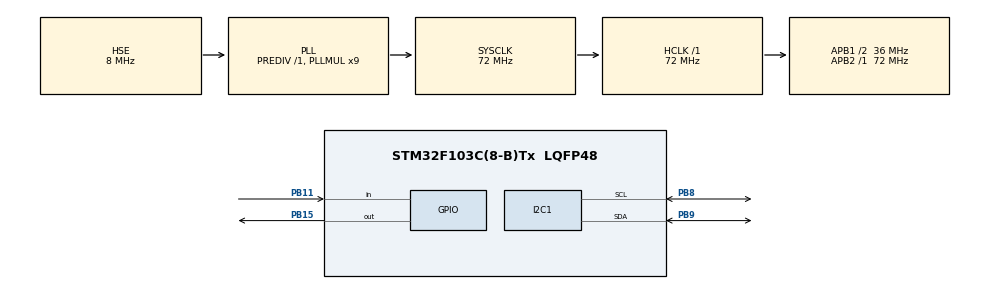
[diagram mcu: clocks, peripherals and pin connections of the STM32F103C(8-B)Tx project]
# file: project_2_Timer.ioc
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I2C1.I2C_Mode=I2C_Fast
Mcu.Family=STM32F1
Mcu.Name=STM32F103C(8-B)Tx
Mcu.Package=LQFP48
NVIC.PriorityGroup=NVIC_PRIORITYGROUP_4
PA13.Mode=Serial_Wire
PA13.Signal=SYS_JTMS-SWDIO
PA14.Mode=Serial_Wire
PA14.Signal=SYS_JTCK-SWCLK
PB11.GPIO_PuPd=GPIO_PULLUP
PB11.Signal=GPIO_Input
PB15.PinState=GPIO_PIN_SET
PB15.Signal=GPIO_Output
PB8.Mode=I2C
PB8.Signal=I2C1_SCL
PB9.Mode=I2C
PB9.Signal=I2C1_SDA
PC14-OSC32_IN.Mode=LSE-External-Oscillator
PC14-OSC32_IN.Signal=RCC_OSC32_IN
PC15-OSC32_OUT.Mode=LSE-External-Oscillator
PC15-OSC32_OUT.Signal=RCC_OSC32_OUT
PD0-OSC_IN.Mode=HSE-External-Oscillator
PD0-OSC_IN.Signal=RCC_OSC_IN
PD1-OSC_OUT.Mode=HSE-External-Oscillator
PD1-OSC_OUT.Signal=RCC_OSC_OUT
ProjectManager.HeapSize=0x200
ProjectManager.StackSize=0x400
ProjectManager.TargetToolchain=MDK-ARM V5.32
RCC.AHBFreq_Value=72000000
RCC.APB1CLKDivider=RCC_HCLK_DIV2
RCC.APB1Freq_Value=36000000
RCC.APB1TimFreq_Value=72000000
RCC.APB2Freq_Value=72000000
RCC.APB2TimFreq_Value=72000000
RCC.HCLKFreq_Value=72000000
RCC.PLLMUL=RCC_PLL_MUL9
RCC.PLLSourceVirtual=RCC_PLLSOURCE_HSE
RCC.SYSCLKFreq_VALUE=72000000
RCC.SYSCLKSource=RCC_SYSCLKSOURCE_PLLCLK
RCC.USBFreq_Value=72000000
board=custom

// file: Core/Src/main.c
/* USER CODE BEGIN Header */
/**
  ******************************************************************************
  * @file           : main.c
  * @brief          : Main program body
  ******************************************************************************
  * @attention
  *
  * Copyright (c) 2026 STMicroelectronics.
  * All rights reserved.
  *
  * This software is licensed under terms that can be found in the LICENSE file
  * in the root directory of this software component.
  * If no LICENSE file comes with this software, it is provided AS-IS.
  *
  ******************************************************************************
  */
/* USER CODE END Header */
#include "main.h"
#include "i2c.h"
#include "gpio.h"

/* USER CODE BEGIN Includes */
#include "OLED.h"
/* USER CODE END Includes */

void SystemClock_Config(void);

int main(void)
{

  /* MCU Configuration--------------------------------------------------------*/

  /* Reset of all peripherals, Initializes the Flash interface and the Systick. */
  HAL_Init();

  /* Configure the system clock */
  SystemClock_Config();

  /* Initialize all configured peripherals */
  MX_GPIO_Init();
  MX_I2C1_Init();
  /* USER CODE BEGIN 2 */
  OLED_Init();
  OLED_Clear();

  /* USER CODE END 2 */

  /* Infinite loop */
  /* USER CODE BEGIN WHILE */
  HAL_GPIO_WritePin(GPIOB, GPIO_PIN_15, GPIO_PIN_SET);
  OLED_ShowString(1, 1, "Timer Ready   ");
  OLED_ShowString(2, 1, "Press Key...  ");

  uint8_t is_timing = 0;   // 状态标志：0表示没计时，1表示正在计时
  uint32_t start_time = 0; // 记录按下瞬间的时间戳

  while (1)
  {
	  // ==========================================
    // 1. 检测按键启动计时
    // ==========================================
    if (is_timing == 0)
    {
        if (HAL_GPIO_ReadPin(GPIOB, GPIO_PIN_11) == GPIO_PIN_RESET)
        {
            HAL_Delay(20); // 消抖
            if (HAL_GPIO_ReadPin(GPIOB, GPIO_PIN_11) == GPIO_PIN_RESET)
            {
                is_timing = 1;
                start_time = HAL_GetTick();

                // 确保蜂鸣器是关着的
                HAL_GPIO_WritePin(GPIOB, GPIO_PIN_15, GPIO_PIN_SET);

                OLED_Clear();
                OLED_ShowString(1, 1, "Time: ");
                OLED_ShowString(2, 1, "Timing...     ");

                // 死等松手
                while (HAL_GPIO_ReadPin(GPIOB, GPIO_PIN_11) == GPIO_PIN_RESET);
            }
        }
    }

    // ==========================================
    // 2. 计时中的显示逻辑（核心！）
    // ==========================================
    if (is_timing == 1)
    {
        uint32_t current_time = HAL_GetTick();
        uint32_t elapsed_time = current_time - start_time;

        // 👇 把时间显示在屏幕上（保留1位小数）
        OLED_ShowNum(1, 7, elapsed_time / 1000, 1); // 秒
        OLED_ShowString(1, 8, ".");
        OLED_ShowNum(1, 9, (elapsed_time % 1000) / 100, 1); // 毫秒（0.1秒）
        OLED_ShowString(1, 10, "s   ");

        // 如果你的屏幕需要刷新才更新，请把这句加回来
        // OLED_Refresh();

        // ==========================================
        // 3. 到达 5 秒的动作
        // ==========================================
        if (elapsed_time >= 5000)
        {
            is_timing = 0; // 🚨 先停表，防止无限循环触发！

            OLED_ShowString(1, 7, "5.0s");
            OLED_ShowString(2, 1, "Buzzer ON!    ");

            // 低电平触发蜂鸣器响
            HAL_GPIO_WritePin(GPIOB, GPIO_PIN_15, GPIO_PIN_RESET);
            HAL_Delay(1000);
            HAL_GPIO_WritePin(GPIOB, GPIO_PIN_15, GPIO_PIN_SET);

            // 恢复界面
            OLED_ShowString(2, 1, "Press Key...  ");
        }
    }

    /* USER CODE END WHILE */

  }
}

void SystemClock_Config(void)
{
  RCC_OscInitTypeDef RCC_OscInitStruct = {0};
  RCC_ClkInitTypeDef RCC_ClkInitStruct = {0};

  /** Initializes the RCC Oscillators according to the specified parameters
  * in the RCC_OscInitTypeDef structure.
  */
  RCC_OscInitStruct.OscillatorType = RCC_OSCILLATORTYPE_HSE;
  RCC_OscInitStruct.HSEState = RCC_HSE_ON;
  RCC_OscInitStruct.HSEPredivValue = RCC_HSE_PREDIV_DIV1;
  RCC_OscInitStruct.HSIState = RCC_HSI_ON;
  RCC_OscInitStruct.PLL.PLLState = RCC_PLL_ON;
  RCC_OscInitStruct.PLL.PLLSource = RCC_PLLSOURCE_HSE;
  RCC_OscInitStruct.PLL.PLLMUL = RCC_PLL_MUL9;
  if (HAL_RCC_OscConfig(&RCC_OscInitStruct) != HAL_OK)
  {
    Error_Handler();
  }

  /** Initializes the CPU, AHB and APB buses clocks
  */
  RCC_ClkInitStruct.ClockType = RCC_CLOCKTYPE_HCLK|RCC_CLOCKTYPE_SYSCLK
                              |RCC_CLOCKTYPE_PCLK1|RCC_CLOCKTYPE_PCLK2;
  RCC_ClkInitStruct.SYSCLKSource = RCC_SYSCLKSOURCE_PLLCLK;
  RCC_ClkInitStruct.AHBCLKDivider = RCC_SYSCLK_DIV1;
  RCC_ClkInitStruct.APB1CLKDivider = RCC_HCLK_DIV2;
  RCC_ClkInitStruct.APB2CLKDivider = RCC_HCLK_DIV1;

  if (HAL_RCC_ClockConfig(&RCC_ClkInitStruct, FLASH_LATENCY_2) != HAL_OK)
  {
    Error_Handler();
  }
}

void Error_Handler(void)
{
  __disable_irq();
  while (1)
  {
  }
}
